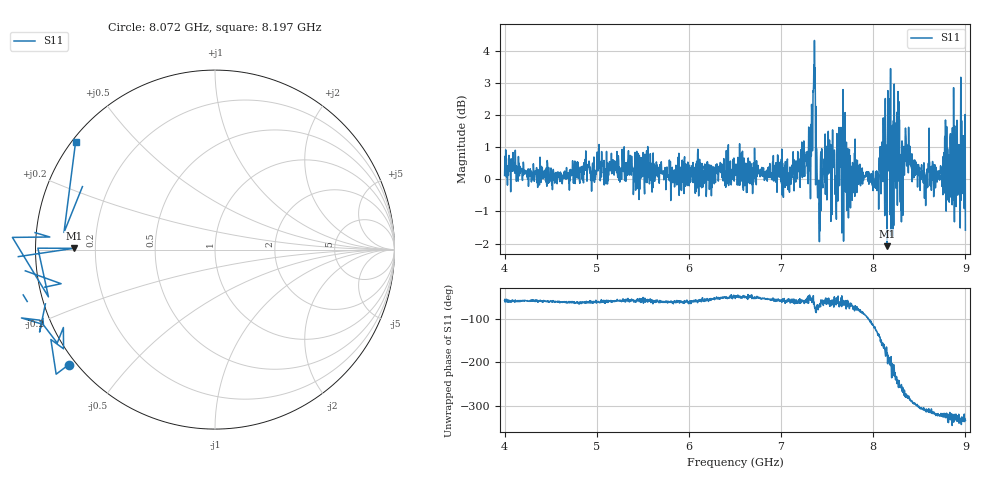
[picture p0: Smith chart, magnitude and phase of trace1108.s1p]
! Created with skrf 1.8.0 (http://scikit-rf.org).
# Hz S RI R 50.0
!freq ReS11 ImS11
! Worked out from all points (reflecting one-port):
!   1601 points, 4 GHz to 9 GHz, reference 50 ohm
!   lowest |S11| = -2.1 dB at 8.15 GHz (marker M1), VSWR 8.38, Z = 5.96 + j0.222 ohm
!   phase of S11 starts at -56 deg and turns -277 deg over the sweep
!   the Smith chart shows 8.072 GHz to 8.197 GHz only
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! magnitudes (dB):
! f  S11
! 4 GHz  0.1
! 4.625 GHz  -0.1
! 5.25 GHz  -0.1
! 5.875 GHz  0.0
! 6.5 GHz  0.3
! 7.125 GHz  0.2
! 7.297 GHz  0.7
! 7.353 GHz  3.0
! 7.372 GHz  2.5
! 7.4 GHz  -0.1
! 7.412 GHz  -1.2
! 7.503 GHz  0.8
! 7.575 GHz  0.4
! 7.669 GHz  1.5
! 7.75 GHz  0.7
! 8.034 GHz  0.0
! 8.15 GHz  -2.1
! 8.178 GHz  2.3
! 8.209 GHz  1.7
! 8.253 GHz  1.3
! 8.312 GHz  1.2
! 8.334 GHz  1.0
! 8.375 GHz  0.6
! 8.566 GHz  0.1
! 8.784 GHz  1.9
! 8.844 GHz  -0.6
! 8.972 GHz  0.4
! 9 GHz  -1.6
